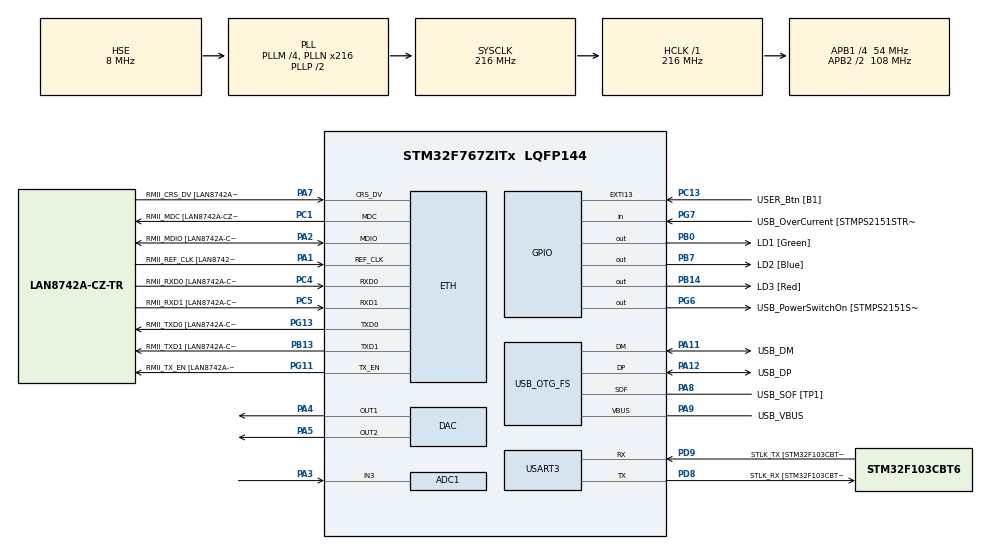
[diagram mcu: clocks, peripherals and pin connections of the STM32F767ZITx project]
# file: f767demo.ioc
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ADC1.Channel-0\#ChannelRegularConversion=ADC_CHANNEL_3
ADC1.ContinuousConvMode=ENABLE
ADC1.DMAContinuousRequests=DISABLE
ADC1.EOCSelection=ADC_EOC_SEQ_CONV
ADC1.NbrOfConversion=1
ADC1.NbrOfConversionFlag=1
ADC1.Rank-0\#ChannelRegularConversion=1
ADC1.SamplingTime-0\#ChannelRegularConversion=ADC_SAMPLETIME_3CYCLES
ADC1.ScanConvMode=ADC_SCAN_DISABLE
ADC1.master=1
DAC.DAC_OutputBuffer=DAC_OUTPUTBUFFER_ENABLE
DAC.DAC_Trigger=DAC_TRIGGER_NONE
Dma.ADC1.0.Direction=DMA_PERIPH_TO_MEMORY
Dma.ADC1.0.FIFOMode=DMA_FIFOMODE_DISABLE
Dma.ADC1.0.Instance=DMA2_Stream0
Dma.ADC1.0.MemDataAlignment=DMA_MDATAALIGN_HALFWORD
Dma.ADC1.0.MemInc=DMA_MINC_ENABLE
Dma.ADC1.0.Mode=DMA_CIRCULAR
Dma.ADC1.0.PeriphDataAlignment=DMA_PDATAALIGN_HALFWORD
Dma.ADC1.0.PeriphInc=DMA_PINC_DISABLE
Dma.ADC1.0.Priority=DMA_PRIORITY_LOW
Dma.DAC1.1.Direction=DMA_MEMORY_TO_PERIPH
Dma.DAC1.1.FIFOMode=DMA_FIFOMODE_DISABLE
Dma.DAC1.1.Instance=DMA1_Stream5
Dma.DAC1.1.MemDataAlignment=DMA_MDATAALIGN_HALFWORD
Dma.DAC1.1.MemInc=DMA_MINC_ENABLE
Dma.DAC1.1.Mode=DMA_NORMAL
Dma.DAC1.1.PeriphDataAlignment=DMA_PDATAALIGN_HALFWORD
Dma.DAC1.1.PeriphInc=DMA_PINC_DISABLE
Dma.DAC1.1.Priority=DMA_PRIORITY_LOW
Dma.Request0=ADC1
Dma.Request1=DAC1
ETH.MediaInterface=HAL_ETH_RMII_MODE
ETH.PHY_Name=LAN8742A_PHY_ADDRESS
ETH.PHY_Value=0
ETH.PhyAddress=0
Mcu.Family=STM32F7
Mcu.Name=STM32F767ZITx
Mcu.Package=LQFP144
NVIC.DMA1_Stream5_IRQn=true\:0\:0\:false\:false\:true\:false\:true\:true
NVIC.DMA2_Stream0_IRQn=true\:0\:0\:false\:false\:true\:false\:true\:true
NVIC.PriorityGroup=NVIC_PRIORITYGROUP_4
PA1.GPIO_Label=RMII_REF_CLK [LAN8742A-CZ-TR_REFCLK0]
PA1.Mode=RMII
PA1.Signal=ETH_REF_CLK
PA10.GPIO_Label=USB_ID
PA10.Signal=USB_OTG_FS_ID
PA11.GPIO_Label=USB_DM
PA11.Mode=Device_Only
PA11.Signal=USB_OTG_FS_DM
PA12.GPIO_Label=USB_DP
PA12.Mode=Device_Only
PA12.Signal=USB_OTG_FS_DP
PA13.GPIO_Label=TMS
PA13.Mode=Serial_Wire
PA13.Signal=SYS_JTMS-SWDIO
PA14.GPIO_Label=TCK
PA14.Mode=Serial_Wire
PA14.Signal=SYS_JTCK-SWCLK
PA2.GPIO_Label=RMII_MDIO [LAN8742A-CZ-TR_MDIO]
PA2.Mode=RMII
PA2.Signal=ETH_MDIO
PA3.Signal=ADCx_IN3
PA4.Signal=COMP_DAC1_group
PA5.Signal=COMP_DAC2_group
PA7.GPIO_Label=RMII_CRS_DV [LAN8742A-CZ-TR_CRS_DV]
PA7.Mode=RMII
PA7.Signal=ETH_CRS_DV
PA8.GPIO_Label=USB_SOF [TP1]
PA8.Mode=Activate_SOF_FS
PA8.Signal=USB_OTG_FS_SOF
PA9.GPIO_Label=USB_VBUS
PA9.Mode=Activate_VBUS
PA9.Signal=USB_OTG_FS_VBUS
PB0.GPIO_Label=LD1 [Green]
PB0.Signal=GPIO_Output
PB13.GPIO_Label=RMII_TXD1 [LAN8742A-CZ-TR_TXD1]
PB13.Mode=RMII
PB13.Signal=ETH_TXD1
PB14.GPIO_Label=LD3 [Red]
PB14.Signal=GPIO_Output
PB3.GPIO_Label=SWO
PB3.Signal=SYS_JTDO-SWO
PB7.GPIO_Label=LD2 [Blue]
PB7.Signal=GPIO_Output
PC1.GPIO_Label=RMII_MDC [LAN8742A-CZ-TR_MDC]
PC1.Mode=RMII
PC1.Signal=ETH_MDC
PC13.GPIO_Label=USER_Btn [B1]
PC13.Signal=GPXTI13
PC14/OSC32_IN.Mode=LSE-External-Oscillator
PC14/OSC32_IN.Signal=RCC_OSC32_IN
PC15/OSC32_OUT.Mode=LSE-External-Oscillator
PC15/OSC32_OUT.Signal=RCC_OSC32_OUT
PC4.GPIO_Label=RMII_RXD0 [LAN8742A-CZ-TR_RXD0]
PC4.Mode=RMII
PC4.Signal=ETH_RXD0
PC5.GPIO_Label=RMII_RXD1 [LAN8742A-CZ-TR_RXD1]
PC5.Mode=RMII
PC5.Signal=ETH_RXD1
PD8.GPIO_Label=STLK_RX [STM32F103CBT6_PA3]
PD8.Mode=Asynchronous
PD8.Signal=USART3_TX
PD9.GPIO_Label=STLK_TX [STM32F103CBT6_PA2]
PD9.Mode=Asynchronous
PD9.Signal=USART3_RX
PG11.GPIO_Label=RMII_TX_EN [LAN8742A-CZ-TR_TXEN]
PG11.Mode=RMII
PG11.Signal=ETH_TX_EN
PG13.GPIO_Label=RMII_TXD0 [LAN8742A-CZ-TR_TXD0]
PG13.Mode=RMII
PG13.Signal=ETH_TXD0
PG6.GPIO_Label=USB_PowerSwitchOn [STMPS2151STR_EN]
PG6.Signal=GPIO_Output
PG7.GPIO_Label=USB_OverCurrent [STMPS2151STR_FAULT]
PG7.Signal=GPIO_Input
PH0/OSC_IN.GPIO_Label=MCO [STM32F103CBT6_PA8]
PH0/OSC_IN.Mode=HSE-External-Clock-Source
PH0/OSC_IN.Signal=RCC_OSC_IN
PH1/OSC_OUT.Mode=HSE-External-Clock-Source
PH1/OSC_OUT.Signal=RCC_OSC_OUT
ProjectManager.HeapSize=0x200
ProjectManager.StackSize=0x400
ProjectManager.TargetToolchain=STM32CubeIDE
RCC.48MHZClocksFreq_Value=24000000
RCC.AHBFreq_Value=216000000
RCC.APB1CLKDivider=RCC_HCLK_DIV4
RCC.APB1Freq_Value=54000000
RCC.APB1TimFreq_Value=108000000
RCC.APB2CLKDivider=RCC_HCLK_DIV2
RCC.APB2Freq_Value=108000000
RCC.APB2TimFreq_Value=216000000
RCC.CortexFreq_Value=216000000
RCC.HCLKFreq_Value=216000000
RCC.HSE_VALUE=8000000
RCC.HSI_VALUE=16000000
RCC.PLLM=4
RCC.PLLMUL=RCC_PLL_MUL9
RCC.PLLN=216
RCC.PLLQ=9
RCC.PRESCALERUSB=RCC_USBCLKSOURCE_PLL_DIV1_5
RCC.SYSCLKFreq_VALUE=216000000
RCC.SYSCLKSource=RCC_SYSCLKSOURCE_PLLCLK
RCC.SYSCLKSourceVirtual=RCC_SYSCLKSOURCE_PLLCLK
RCC.USBFreq_Value=48000000
RCC.VCOOutputFreq_Value=432000000
SH.ADCx_IN3.0=ADC1_IN3,IN3
SH.COMP_DAC1_group.0=DAC_OUT1,DAC_OUT1
SH.COMP_DAC2_group.0=DAC_OUT2,DAC_OUT2
USART3.VirtualMode-Asynchronous=VM_ASYNC
USB_OTG_FS.VirtualMode=Device_Only
board=NUCLEO-F767ZI

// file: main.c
/* USER CODE BEGIN Header */
/**
  ******************************************************************************
  * @file           : main.c
  * @brief          : Main program body
  ******************************************************************************
  * @attention
  *
  * Copyright (c) 2024 STMicroelectronics.
  * All rights reserved.
  *
  * This software is licensed under terms that can be found in the LICENSE file
  * in the root directory of this software component.
  * If no LICENSE file comes with this software, it is provided AS-IS.
  *
  ******************************************************************************
  */
/* USER CODE END Header */
#include "main.h"
#include "string.h"

/* USER CODE BEGIN Includes */
#include "stdio.h"
#include "IIR1storder.h"
/* USER CODE END Includes */

#if defined ( __ICCARM__ ) /*!< IAR Compiler */
#pragma location=0x2007c000
ETH_DMADescTypeDef  DMARxDscrTab[ETH_RX_DESC_CNT]; /* Ethernet Rx DMA Descriptors */
#pragma location=0x2007c0a0
ETH_DMADescTypeDef  DMATxDscrTab[ETH_TX_DESC_CNT]; /* Ethernet Tx DMA Descriptors */

#elif defined ( __CC_ARM )  /* MDK ARM Compiler */

__attribute__((at(0x2007c000))) ETH_DMADescTypeDef  DMARxDscrTab[ETH_RX_DESC_CNT]; /* Ethernet Rx DMA Descriptors */
__attribute__((at(0x2007c0a0))) ETH_DMADescTypeDef  DMATxDscrTab[ETH_TX_DESC_CNT]; /* Ethernet Tx DMA Descriptors */

#elif defined ( __GNUC__ ) /* GNU Compiler */
ETH_DMADescTypeDef DMARxDscrTab[ETH_RX_DESC_CNT] __attribute__((section(".RxDecripSection"))); /* Ethernet Rx DMA Descriptors */
ETH_DMADescTypeDef DMATxDscrTab[ETH_TX_DESC_CNT] __attribute__((section(".TxDecripSection")));   /* Ethernet Tx DMA Descriptors */

#endif

ETH_TxPacketConfig TxConfig;

ADC_HandleTypeDef hadc1;
DMA_HandleTypeDef hdma_adc1;

DAC_HandleTypeDef hdac;
DMA_HandleTypeDef hdma_dac1;

ETH_HandleTypeDef heth;

UART_HandleTypeDef huart3;

PCD_HandleTypeDef hpcd_USB_OTG_FS;

void SystemClock_Config(void);
static void MX_GPIO_Init(void);
static void MX_DMA_Init(void);
static void MX_USART3_UART_Init(void);
static void MX_USB_OTG_FS_PCD_Init(void);
static void MX_ADC1_Init(void);
static void MX_ETH_Init(void);
static void MX_DAC_Init(void);

/* USER CODE BEGIN 0 */

//ADC variables
uint16_t rawData = 0;
uint16_t filteredData = 0;

//UART variables
char msg[30];
char filtered[30];

/* USER CODE END 0 */

int main(void)
{
  /* USER CODE BEGIN 1 */
	hdac.State = HAL_DAC_STATE_RESET;
  /* USER CODE END 1 */

  /* MCU Configuration--------------------------------------------------------*/

  /* Reset of all peripherals, Initializes the Flash interface and the Systick. */
  HAL_Init();

  /* Configure the system clock */
  SystemClock_Config();

  /* Initialize all configured peripherals */
  MX_GPIO_Init();
  MX_DMA_Init();
  MX_USART3_UART_Init();
  MX_USB_OTG_FS_PCD_Init();
  MX_ADC1_Init();
  MX_ETH_Init();
  MX_DAC_Init();
  /* USER CODE BEGIN 2 */

  //ADC start
  HAL_ADC_Start(&hadc1);

  //initialize the IIR filter
  IIRcoefficients filter;
  IIR1n_Init(&filter, 0.7);

  //start the DAC
  HAL_DAC_Start(&hdac, DAC_CHANNEL_1);
  HAL_DAC_Start(&hdac, DAC_CHANNEL_2);

  /* USER CODE END 2 */

  /* Infinite loop */
  /* USER CODE BEGIN WHILE */
  while (1){
	  //read ADC data
	  HAL_ADC_PollForConversion(&hadc1, HAL_MAX_DELAY);
	  rawData = HAL_ADC_GetValue(&hadc1);

	  //feeding input through IIR filter
	  filteredData = IIR1n_Update(&filter, rawData);

	  //print raw data through UART
	  sprintf(msg, "ADC raw value: %hu,", rawData);
	  HAL_UART_Transmit(&huart3, (uint8_t*) msg, strlen(msg), HAL_MAX_DELAY);

	  //print filtered data through UART
	  sprintf(filtered, "ADC filtered value: %hu\r\n", filteredData);
	  HAL_UART_Transmit(&huart3, (uint8_t*) filtered, strlen(filtered), HAL_MAX_DELAY);

	  //Output filtered signal through DAC:
	  HAL_DAC_SetValue(&hdac, DAC_CHANNEL_1, DAC_ALIGN_12B_R, (uint32_t) filteredData);

    /* USER CODE END WHILE */

  }
}

void SystemClock_Config(void)
{
  RCC_OscInitTypeDef RCC_OscInitStruct = {0};
  RCC_ClkInitTypeDef RCC_ClkInitStruct = {0};

  /** Configure LSE Drive Capability
  */
  HAL_PWR_EnableBkUpAccess();

  /** Configure the main internal regulator output voltage
  */
  __HAL_RCC_PWR_CLK_ENABLE();
  __HAL_PWR_VOLTAGESCALING_CONFIG(PWR_REGULATOR_VOLTAGE_SCALE1);

  /** Initializes the RCC Oscillators according to the specified parameters
  * in the RCC_OscInitTypeDef structure.
  */
  RCC_OscInitStruct.OscillatorType = RCC_OSCILLATORTYPE_HSE;
  RCC_OscInitStruct.HSEState = RCC_HSE_BYPASS;
  RCC_OscInitStruct.PLL.PLLState = RCC_PLL_ON;
  RCC_OscInitStruct.PLL.PLLSource = RCC_PLLSOURCE_HSE;
  RCC_OscInitStruct.PLL.PLLM = 4;
  RCC_OscInitStruct.PLL.PLLN = 216;
  RCC_OscInitStruct.PLL.PLLP = RCC_PLLP_DIV2;
  RCC_OscInitStruct.PLL.PLLQ = 9;
  RCC_OscInitStruct.PLL.PLLR = 2;
  if (HAL_RCC_OscConfig(&RCC_OscInitStruct) != HAL_OK)
  {
    Error_Handler();
  }

  /** Activate the Over-Drive mode
  */
  if (HAL_PWREx_EnableOverDrive() != HAL_OK)
  {
    Error_Handler();
  }

  /** Initializes the CPU, AHB and APB buses clocks
  */
  RCC_ClkInitStruct.ClockType = RCC_CLOCKTYPE_HCLK|RCC_CLOCKTYPE_SYSCLK
                              |RCC_CLOCKTYPE_PCLK1|RCC_CLOCKTYPE_PCLK2;
  RCC_ClkInitStruct.SYSCLKSource = RCC_SYSCLKSOURCE_PLLCLK;
  RCC_ClkInitStruct.AHBCLKDivider = RCC_SYSCLK_DIV1;
  RCC_ClkInitStruct.APB1CLKDivider = RCC_HCLK_DIV4;
  RCC_ClkInitStruct.APB2CLKDivider = RCC_HCLK_DIV2;

  if (HAL_RCC_ClockConfig(&RCC_ClkInitStruct, FLASH_LATENCY_7) != HAL_OK)
  {
    Error_Handler();
  }
}

static void MX_ADC1_Init(void)
{

  ADC_ChannelConfTypeDef sConfig = {0};

  /** Configure the global features of the ADC (Clock, Resolution, Data Alignment and number of conversion)
  */
  hadc1.Instance = ADC1;
  hadc1.Init.ClockPrescaler = ADC_CLOCK_SYNC_PCLK_DIV4;
  hadc1.Init.Resolution = ADC_RESOLUTION_12B;
  hadc1.Init.ScanConvMode = ADC_SCAN_DISABLE;
  hadc1.Init.ContinuousConvMode = ENABLE;
  hadc1.Init.DiscontinuousConvMode = DISABLE;
  hadc1.Init.ExternalTrigConvEdge = ADC_EXTERNALTRIGCONVEDGE_NONE;
  hadc1.Init.ExternalTrigConv = ADC_SOFTWARE_START;
  hadc1.Init.DataAlign = ADC_DATAALIGN_RIGHT;
  hadc1.Init.NbrOfConversion = 1;
  hadc1.Init.DMAContinuousRequests = DISABLE;
  hadc1.Init.EOCSelection = ADC_EOC_SEQ_CONV;
  if (HAL_ADC_Init(&hadc1) != HAL_OK)
  {
    Error_Handler();
  }

  /** Configure for the selected ADC regular channel its corresponding rank in the sequencer and its sample time.
  */
  sConfig.Channel = ADC_CHANNEL_3;
  sConfig.Rank = ADC_REGULAR_RANK_1;
  sConfig.SamplingTime = ADC_SAMPLETIME_3CYCLES;
  if (HAL_ADC_ConfigChannel(&hadc1, &sConfig) != HAL_OK)
  {
    Error_Handler();
  }

}

static void MX_DAC_Init(void)
{

  DAC_ChannelConfTypeDef sConfig = {0};

  /* USER CODE BEGIN DAC_Init 1 */
  GPIO_InitTypeDef GPIO_InitStruct;
  /* USER CODE END DAC_Init 1 */

  /** DAC Initialization
  */
  hdac.Instance = DAC;
  if (HAL_DAC_Init(&hdac) != HAL_OK)
  {
    Error_Handler();
  }

  /** DAC channel OUT1 config
  */
  sConfig.DAC_Trigger = DAC_TRIGGER_NONE;
  sConfig.DAC_OutputBuffer = DAC_OUTPUTBUFFER_ENABLE;
  if (HAL_DAC_ConfigChannel(&hdac, &sConfig, DAC_CHANNEL_1) != HAL_OK)
  {
    Error_Handler();
  }

  /** DAC channel OUT2 config
  */
  if (HAL_DAC_ConfigChannel(&hdac, &sConfig, DAC_CHANNEL_2) != HAL_OK)
  {
    Error_Handler();
  }
  /* USER CODE BEGIN DAC_Init 2 */
  GPIO_InitStruct.Pin = GPIO_PIN_5;
  GPIO_InitStruct.Mode = GPIO_MODE_ANALOG;
  GPIO_InitStruct.Pull = GPIO_NOPULL;
  HAL_GPIO_Init(GPIOA, &GPIO_InitStruct);

  GPIO_InitStruct.Pin = GPIO_PIN_4;
  GPIO_InitStruct.Mode = GPIO_MODE_ANALOG;
  GPIO_InitStruct.Pull = GPIO_NOPULL;
  HAL_GPIO_Init(GPIOA, &GPIO_InitStruct);
  /* USER CODE END DAC_Init 2 */

}

static void MX_ETH_Init(void)
{

   static uint8_t MACAddr[6];

  heth.Instance = ETH;
  MACAddr[0] = 0x00;
  MACAddr[1] = 0x80;
  MACAddr[2] = 0xE1;
  MACAddr[3] = 0x00;
  MACAddr[4] = 0x00;
  MACAddr[5] = 0x00;
  heth.Init.MACAddr = &MACAddr[0];
  heth.Init.MediaInterface = HAL_ETH_RMII_MODE;
  heth.Init.TxDesc = DMATxDscrTab;
  heth.Init.RxDesc = DMARxDscrTab;
  heth.Init.RxBuffLen = 1524;

  if (HAL_ETH_Init(&heth) != HAL_OK)
  {
    Error_Handler();
  }

  memset(&TxConfig, 0 , sizeof(ETH_TxPacketConfig));
  TxConfig.Attributes = ETH_TX_PACKETS_FEATURES_CSUM | ETH_TX_PACKETS_FEATURES_CRCPAD;
  TxConfig.ChecksumCtrl = ETH_CHECKSUM_IPHDR_PAYLOAD_INSERT_PHDR_CALC;
  TxConfig.CRCPadCtrl = ETH_CRC_PAD_INSERT;

}

static void MX_USART3_UART_Init(void)
{

  huart3.Instance = USART3;
  huart3.Init.BaudRate = 115200;
  huart3.Init.WordLength = UART_WORDLENGTH_8B;
  huart3.Init.StopBits = UART_STOPBITS_1;
  huart3.Init.Parity = UART_PARITY_NONE;
  huart3.Init.Mode = UART_MODE_TX_RX;
  huart3.Init.HwFlowCtl = UART_HWCONTROL_NONE;
  huart3.Init.OverSampling = UART_OVERSAMPLING_16;
  huart3.Init.OneBitSampling = UART_ONE_BIT_SAMPLE_DISABLE;
  huart3.AdvancedInit.AdvFeatureInit = UART_ADVFEATURE_NO_INIT;
  if (HAL_UART_Init(&huart3) != HAL_OK)
  {
    Error_Handler();
  }

}

static void MX_USB_OTG_FS_PCD_Init(void)
{

  hpcd_USB_OTG_FS.Instance = USB_OTG_FS;
  hpcd_USB_OTG_FS.Init.dev_endpoints = 6;
  hpcd_USB_OTG_FS.Init.speed = PCD_SPEED_FULL;
  hpcd_USB_OTG_FS.Init.dma_enable = DISABLE;
  hpcd_USB_OTG_FS.Init.phy_itface = PCD_PHY_EMBEDDED;
  hpcd_USB_OTG_FS.Init.Sof_enable = ENABLE;
  hpcd_USB_OTG_FS.Init.low_power_enable = DISABLE;
  hpcd_USB_OTG_FS.Init.lpm_enable = DISABLE;
  hpcd_USB_OTG_FS.Init.vbus_sensing_enable = ENABLE;
  hpcd_USB_OTG_FS.Init.use_dedicated_ep1 = DISABLE;
  if (HAL_PCD_Init(&hpcd_USB_OTG_FS) != HAL_OK)
  {
    Error_Handler();
  }

}

static void MX_DMA_Init(void)
{

  /* DMA controller clock enable */
  __HAL_RCC_DMA2_CLK_ENABLE();
  __HAL_RCC_DMA1_CLK_ENABLE();

  /* DMA interrupt init */
  /* DMA1_Stream5_IRQn interrupt configuration */
  HAL_NVIC_SetPriority(DMA1_Stream5_IRQn, 0, 0);
  HAL_NVIC_EnableIRQ(DMA1_Stream5_IRQn);
  /* DMA2_Stream0_IRQn interrupt configuration */
  HAL_NVIC_SetPriority(DMA2_Stream0_IRQn, 0, 0);
  HAL_NVIC_EnableIRQ(DMA2_Stream0_IRQn);

}

static void MX_GPIO_Init(void)
{
  GPIO_InitTypeDef GPIO_InitStruct = {0};

  /* GPIO Ports Clock Enable */
  __HAL_RCC_GPIOC_CLK_ENABLE();
  __HAL_RCC_GPIOH_CLK_ENABLE();
  __HAL_RCC_GPIOA_CLK_ENABLE();
  __HAL_RCC_GPIOB_CLK_ENABLE();
  __HAL_RCC_GPIOD_CLK_ENABLE();
  __HAL_RCC_GPIOG_CLK_ENABLE();

  /*Configure GPIO pin Output Level */
  HAL_GPIO_WritePin(GPIOB, LD1_Pin|LD3_Pin|LD2_Pin, GPIO_PIN_RESET);

  /*Configure GPIO pin Output Level */
  HAL_GPIO_WritePin(USB_PowerSwitchOn_GPIO_Port, USB_PowerSwitchOn_Pin, GPIO_PIN_RESET);

  /*Configure GPIO pin : USER_Btn_Pin */
  GPIO_InitStruct.Pin = USER_Btn_Pin;
  GPIO_InitStruct.Mode = GPIO_MODE_IT_RISING;
  GPIO_InitStruct.Pull = GPIO_NOPULL;
  HAL_GPIO_Init(USER_Btn_GPIO_Port, &GPIO_InitStruct);

  /*Configure GPIO pins : LD1_Pin LD3_Pin LD2_Pin */
  GPIO_InitStruct.Pin = LD1_Pin|LD3_Pin|LD2_Pin;
  GPIO_InitStruct.Mode = GPIO_MODE_OUTPUT_PP;
  GPIO_InitStruct.Pull = GPIO_NOPULL;
  GPIO_InitStruct.Speed = GPIO_SPEED_FREQ_LOW;
  HAL_GPIO_Init(GPIOB, &GPIO_InitStruct);

  /*Configure GPIO pin : USB_PowerSwitchOn_Pin */
  GPIO_InitStruct.Pin = USB_PowerSwitchOn_Pin;
  GPIO_InitStruct.Mode = GPIO_MODE_OUTPUT_PP;
  GPIO_InitStruct.Pull = GPIO_NOPULL;
  GPIO_InitStruct.Speed = GPIO_SPEED_FREQ_LOW;
  HAL_GPIO_Init(USB_PowerSwitchOn_GPIO_Port, &GPIO_InitStruct);

  /*Configure GPIO pin : USB_OverCurrent_Pin */
  GPIO_InitStruct.Pin = USB_OverCurrent_Pin;
  GPIO_InitStruct.Mode = GPIO_MODE_INPUT;
  GPIO_InitStruct.Pull = GPIO_NOPULL;
  HAL_GPIO_Init(USB_OverCurrent_GPIO_Port, &GPIO_InitStruct);

/* USER CODE BEGIN MX_GPIO_Init_2 */
  GPIO_InitStruct.Pin = GPIO_PIN_5;
  GPIO_InitStruct.Mode = GPIO_MODE_ANALOG;
  GPIO_InitStruct.Pull = GPIO_NOPULL;
  HAL_GPIO_Init(GPIOA, &GPIO_InitStruct);

  GPIO_InitStruct.Pin = GPIO_PIN_4;
  GPIO_InitStruct.Mode = GPIO_MODE_ANALOG;
  GPIO_InitStruct.Pull = GPIO_NOPULL;
  HAL_GPIO_Init(GPIOA, &GPIO_InitStruct);
/* USER CODE END MX_GPIO_Init_2 */
}

void Error_Handler(void)
{
  __disable_irq();
  while (1)
  {
  }
}
